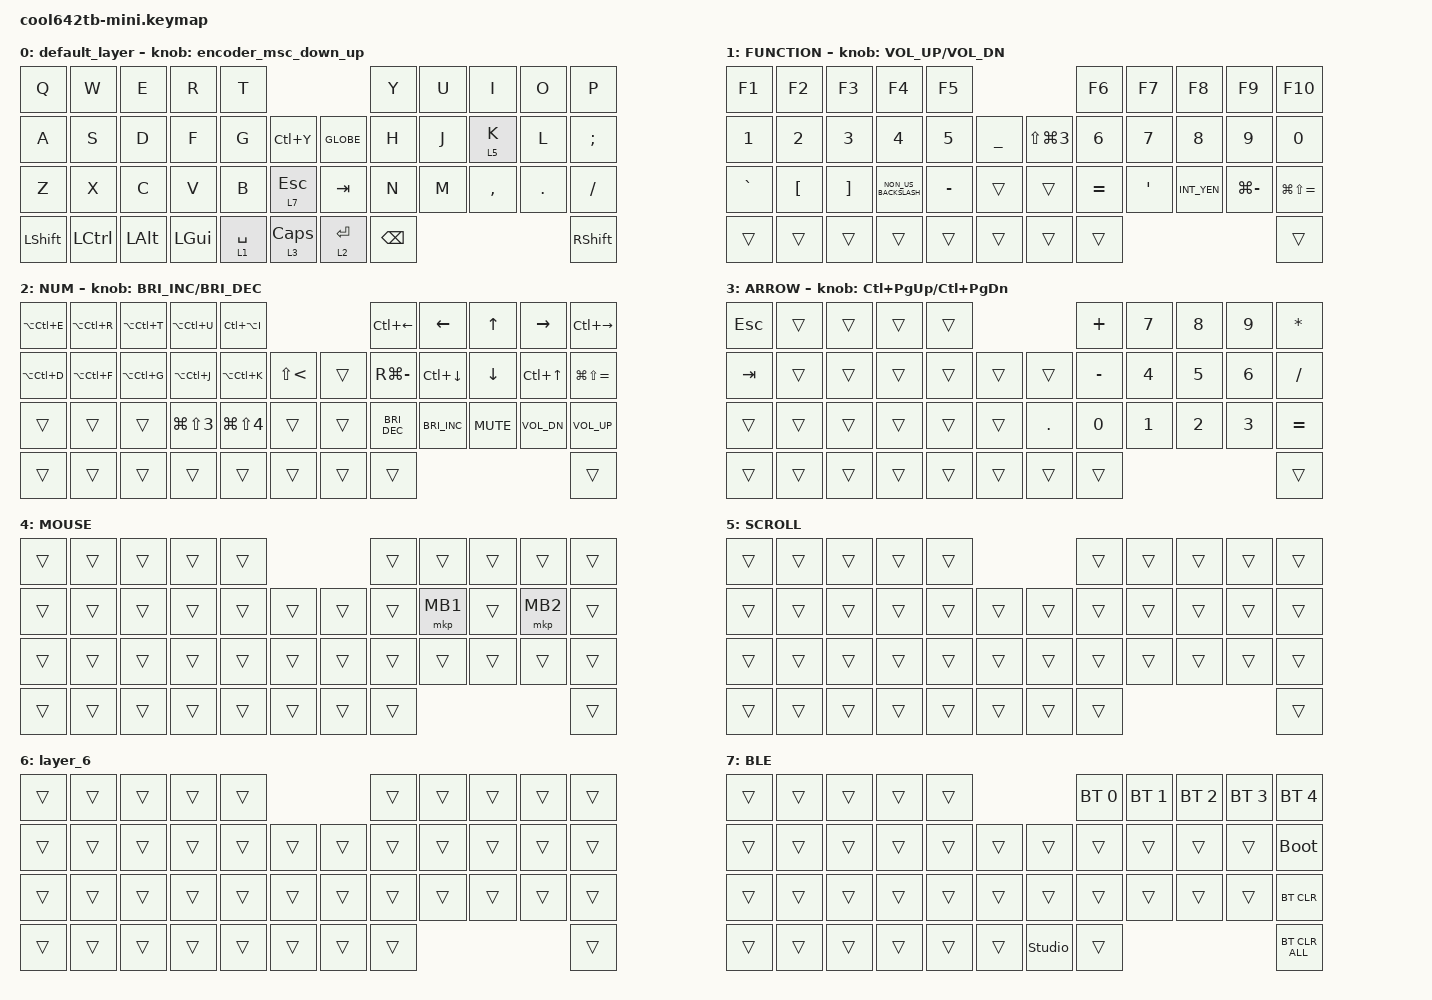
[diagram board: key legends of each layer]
#include <behaviors.dtsi>
#include <dt-bindings/zmk/bt.h>
#include <dt-bindings/zmk/keys.h>
#include <dt-bindings/zmk/pointing.h>

#define FUNCTION 1
#define NUM 2
#define ARROW 3
#define MOUSE 4
#define SCROLL 5
#define ZMK_POINTING_DEFAULT_SCRL_VAL 80

&mt {
    flavor = "balanced";
    quick-tap-ms = <0>;
};

/ {
    combos {
        compatible = "zmk,combos";

        shift_tab {
            bindings = <&kp LANG2>;
            key-positions = <12 13>;
        };

        lang {
            bindings = <&kp CAPS>;
            key-positions = <18 19>;
        };

        Escape {
            bindings = <&kp ESC>;
            key-positions = <0 1>;
        };

        Tab {
            bindings = <&kp TAB>;
            key-positions = <1 2>;
        };

        PrevTab {
            bindings = <&kp LS(LC(TAB))>;
            key-positions = <5 6>;
        };

        FwdTab {
            bindings = <&kp LC(TAB)>;
            key-positions = <6 7>;
        };

        Expand {
            bindings = <&kp LG(LS(EQUAL))>;
            key-positions = <8 9>;
        };

        Shrink {
            bindings = <&kp LG(MINUS)>;
            key-positions = <7 8>;
        };
    };

    behaviors {
        encoder_msc_down_up: encoder_msc_down_up {
            compatible = "zmk,behavior-sensor-rotate";
            label = "ENCODER_MSC_DOWN_UP";
            #sensor-binding-cells = <0>;
            bindings = <&msc SCRL_UP>, <&msc SCRL_DOWN>;

            tap-ms = <20>;
        };
    };

    keymap {
        compatible = "zmk,keymap";

        default_layer {
            bindings = <
&kp Q           &kp W             &kp E         &kp R         &kp T                                        &kp Y          &kp U  &kp I      &kp O    &kp P
&kp A           &kp S             &kp D         &kp F         &kp G        &kp LC(Y)         &kp GLOBE     &kp H          &kp J  &lt 5 K    &kp L    &kp SEMICOLON
&kp Z           &kp X             &kp C         &kp V         &kp B        &lt 7 ESCAPE      &kp TAB       &kp N          &kp M  &kp COMMA  &kp DOT  &kp SLASH
&kp LEFT_SHIFT  &kp LEFT_CONTROL  &kp LEFT_ALT  &kp LEFT_GUI  &lt 1 SPACE  &lt 3 CAPS        &lt 2 RETURN  &kp BACKSPACE                             &kp RIGHT_SHIFT
            >;

            sensor-bindings = <&encoder_msc_down_up>;
        };

        FUNCTION {
            bindings = <
&kp F1        &kp F2            &kp F3             &kp F4                &kp F5                                             &kp F6        &kp F7        &kp F8        &kp F9         &kp F10
&kp NUMBER_1  &kp NUMBER_2      &kp NUMBER_3       &kp NUMBER_4          &kp NUMBER_5  &kp UNDER      &kp LS(LG(NUMBER_3))  &kp NUMBER_6  &kp NUMBER_7  &kp NUMBER_8  &kp NUMBER_9   &kp NUMBER_0
&kp GRAVE     &kp LEFT_BRACKET  &kp RIGHT_BRACKET  &kp NON_US_BACKSLASH  &kp MINUS     &trans         &trans                &kp EQUAL     &kp SQT       &kp INT_YEN   &kp LG(MINUS)  &kp LG(LS(EQUAL))
&trans        &trans            &trans             &trans                &trans        &trans         &trans                &trans                                                   &trans
            >;

            sensor-bindings = <&inc_dec_kp C_VOLUME_UP C_VOL_DN>;
        };

        NUM {
            bindings = <
&kp LA(LC(E))  &kp LA(LC(R))  &kp LA(LC(T))  &kp LA(LC(U))         &kp LC(LA(I))                                 &kp LC(LEFT_ARROW)    &kp LEFT_ARROW        &kp UP_ARROW  &kp RIGHT_ARROW   &kp LC(RIGHT_ARROW)
&kp LA(LC(D))  &kp LA(LC(F))  &kp LA(LC(G))  &kp LA(LC(J))         &kp LA(LC(K))         &kp LS(LT)      &trans  &kp RG(MINUS)         &kp LC(DOWN_ARROW)    &kp DOWN      &kp LC(UP_ARROW)  &kp LG(LS(EQUAL))
&trans         &trans         &trans         &kp LG(LS(NUMBER_3))  &kp LG(LS(NUMBER_4))  &trans          &trans  &kp C_BRIGHTNESS_DEC  &kp C_BRIGHTNESS_INC  &kp K_MUTE    &kp C_VOL_DN      &kp C_VOLUME_UP
&trans         &trans         &trans         &trans                &trans                &trans          &trans  &trans                                                                      &trans
            >;

            sensor-bindings = <&inc_dec_kp C_BRIGHTNESS_INC C_BRIGHTNESS_DEC>;
        };

        ARROW {
            bindings = <
&kp ESCAPE  &trans  &trans  &trans  &trans                          &kp PLUS      &kp NUMBER_7  &kp NUMBER_8  &kp NUMBER_9  &kp ASTRK
&kp TAB     &trans  &trans  &trans  &trans  &trans      &trans      &kp MINUS     &kp NUMBER_4  &kp NUMBER_5  &kp NUMBER_6  &kp SLASH
&trans      &trans  &trans  &trans  &trans  &trans      &kp PERIOD  &kp NUMBER_0  &kp NUMBER_1  &kp NUMBER_2  &kp NUMBER_3  &kp EQUAL
&trans      &trans  &trans  &trans  &trans  &trans      &trans      &trans                                                  &trans
            >;

            sensor-bindings = <&inc_dec_kp LC(PAGE_UP) LC(PAGE_DOWN)>;
        };

        MOUSE {
            bindings = <
&trans  &trans  &trans  &trans  &trans                      &trans  &trans    &trans  &trans    &trans
&trans  &trans  &trans  &trans  &trans  &trans      &trans  &trans  &mkp MB1  &trans  &mkp MB2  &trans
&trans  &trans  &trans  &trans  &trans  &trans      &trans  &trans  &trans    &trans  &trans    &trans
&trans  &trans  &trans  &trans  &trans  &trans      &trans  &trans                              &trans
            >;
        };

        SCROLL {
            bindings = <
&trans  &trans  &trans  &trans  &trans                      &trans  &trans  &trans  &trans  &trans
&trans  &trans  &trans  &trans  &trans  &trans      &trans  &trans  &trans  &trans  &trans  &trans
&trans  &trans  &trans  &trans  &trans  &trans      &trans  &trans  &trans  &trans  &trans  &trans
&trans  &trans  &trans  &trans  &trans  &trans      &trans  &trans                          &trans
            >;
        };

        layer_6 {
            bindings = <
&trans  &trans  &trans  &trans  &trans                      &trans  &trans  &trans  &trans  &trans
&trans  &trans  &trans  &trans  &trans  &trans      &trans  &trans  &trans  &trans  &trans  &trans
&trans  &trans  &trans  &trans  &trans  &trans      &trans  &trans  &trans  &trans  &trans  &trans
&trans  &trans  &trans  &trans  &trans  &trans      &trans  &trans                          &trans
            >;
        };

        BLE {
            bindings = <
&trans  &trans  &trans  &trans  &trans                              &bt BT_SEL 0  &bt BT_SEL 1  &bt BT_SEL 2  &bt BT_SEL 3  &bt BT_SEL 4
&trans  &trans  &trans  &trans  &trans  &trans      &trans          &trans        &trans        &trans        &trans        &bootloader
&trans  &trans  &trans  &trans  &trans  &trans      &trans          &trans        &trans        &trans        &trans        &bt BT_CLR
&trans  &trans  &trans  &trans  &trans  &trans      &studio_unlock  &trans                                                  &bt BT_CLR_ALL
            >;
        };
    };
};
